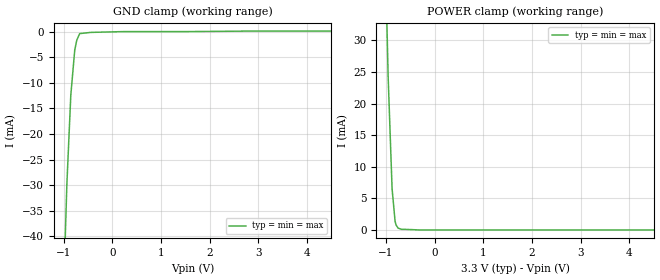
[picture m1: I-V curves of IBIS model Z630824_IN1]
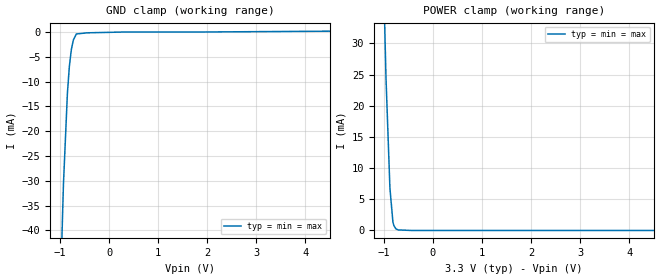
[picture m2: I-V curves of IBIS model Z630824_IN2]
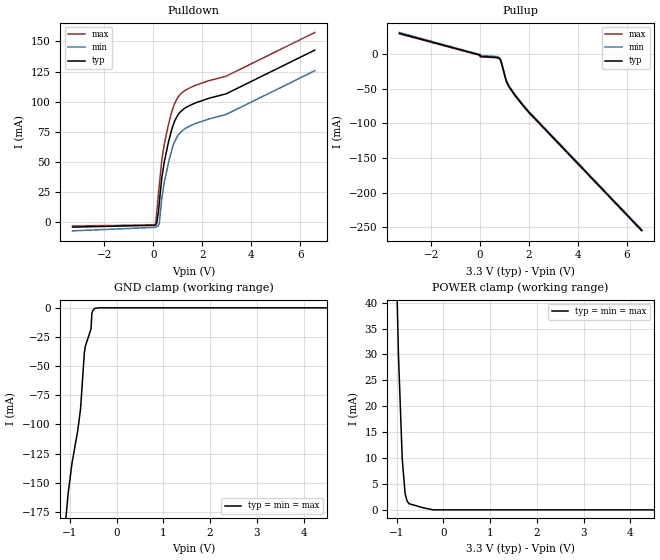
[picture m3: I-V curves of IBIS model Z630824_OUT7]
| YOU ARE ONLY AUTHORIZED TO USE THIS SOFTWARE
| ACCORDING TO LICENSOR'S LICENSE RESTRICTIONS.
[IBIS Ver] 3.1
[File Name] nb100elt23ld.ibs
[File Rev] 2
[Source] Derived from measured data
[Date] 9/25/2003
[Copyright]
| (c) COPYRIGHT 1993-2000
| MENTOR GRAPHICS CORPORATION
| ICX STANDARD LIBRARY, ICX PROJECT MODELING,
| ICX CUSTOM MODELING, ICX VENDOR MODEL
| ALL RIGHTS RESERVED.
| THE FOLLOWING ARE TRADEMARKS OR SERVICE MARKS OF
| MENTOR GRAPHICS CORPORATION:ICX (r), ICX STANDARD
| LIBRARY(r), ICX PROJECT MODELING(r), ICX CUSTOM
| MODELING(r), qualityIBIS(tm), MODELVIEWER(tm),
| AND MODELEDITOR(tm)
| ALL COPIES OF SOFTWARE, INCLUDING BUT NOT LIMITED TO
| ANY MODIFICATIONS, ENHANCEMENTS OR DERIVATIVE WORKS,
| MUST CONTAIN ALL MENTOR GRAPHICS CORPORATION'S
| NOTICES AND LEGENDS, INCLUDING THOSE EMBEDDED IN
| SOFTWARE AND THOSE AFFIXED TO SOFTWARE MEDIUM
| AND CONTAINER, AS RECEIVED FROM MENTOR GRAPHICS
| CORPORATION.
|  ZAP Model Builder 2.8
[Component] NB100ELT23LD
[Manufacturer] ON
[Package]
| variable   typ   min   max
R_pkg  .152ohms NA NA
L_pkg  2.714nH NA NA
C_pkg  .364pF NA NA
[Pin] signal_name  model_name  R_pin  L_pin C_pin
1 D0 Z630824_IN1 .154 2.924n .374p
2 _D0 Z630824_IN2 .15 2.504n .354p
3 _D1 Z630824_IN2 .15 2.504n .354p
4 D1 Z630824_IN1 .154 2.924n .374p
5 GND GND .154 2.924n .374p
6 Q1 Z630824_OUT7 .15 2.504n .354p
7 _Q1 Z630824_OUT7 .15 2.504n .354p
8 VCC POWER .154 2.924n .374p
[Diff Pin] inv_pin vdiff tdelay_typ tdelay_min tdelay_max
1 2 800mv NA NA NA
4 3 800mv NA NA NA
| Models and submodels in the file (3): Z630824_IN1 (Input_ECL), Z630824_IN2 (Input_ECL), Z630824_OUT7 (Output)
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| (c) COPYRIGHT 1993-2000
| MENTOR GRAPHICS CORPORATION
| ICX STANDARD LIBRARY, ICX PROJECT MODELING,
| ICX CUSTOM MODELING, ICX VENDOR MODEL
| ALL RIGHTS RESERVED.
| THE FOLLOWING ARE TRADEMARKS OR SERVICE MARKS OF
| MENTOR GRAPHICS CORPORATION:ICX (r), ICX STANDARD
| LIBRARY(r), ICX PROJECT MODELING(r), ICX CUSTOM
| MODELING(r), qualityIBIS(tm), MODELVIEWER(tm),
| AND MODELEDITOR(tm)
| ALL COPIES OF SOFTWARE, INCLUDING BUT NOT LIMITED TO
| ANY MODIFICATIONS, ENHANCEMENTS OR DERIVATIVE WORKS,
| MUST CONTAIN ALL MENTOR GRAPHICS CORPORATION'S
| NOTICES AND LEGENDS, INCLUDING THOSE EMBEDDED IN
| SOFTWARE AND THOSE AFFIXED TO SOFTWARE MEDIUM
| AND CONTAINER, AS RECEIVED FROM MENTOR GRAPHICS
| CORPORATION.
| Model Application Version 1.89 2/18/99.
[Model] Z630824_IN1
Model_type Input_ECL
Vinl = 1.825V
Vinh = 2.135V
C_comp 1.000pF NA NA
| variable typ   min   max
[Voltage Range] 3.300V 3.300V  3.300V
[GND Clamp Reference] 0.000V 0.000V 0.000V
[POWER Clamp Reference] 3.300V 3.300V 3.300V
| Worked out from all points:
|   GND clamp passes 1 mA (typ) near -0.70 V on its own axis
|   POWER clamp passes 1 mA (typ) near -0.80 V on its own axis
[GND Clamp]
-3.3V     -775.3mA   -775.3mA   -775.3mA
-932mV    -29.8mA    -29.8mA    -29.8mA
-851mV    -12.4mA    -12.4mA    -12.4mA
-770mV    -3.6mA     -3.6mA     -3.6mA
-729mV    -1.7mA     -1.7mA     -1.7mA
-669mV    -400uA     -400uA     -400uA
-446mV    -161.9uA   -161.9uA   -161.9uA
243mV     0A         0A         0A
1.561V    0A         0A         0A
2.878V    100uA      100uA      100uA
6.6V      100uA      100uA      100uA
[POWER Clamp]
-3.3V     783.7mA    783.7mA    783.7mA
-1.119V   86.3mA     86.3mA     86.3mA
-1.078V   64.1mA     64.1mA     64.1mA
-957mV    24.2mA     24.2mA     24.2mA
-876mV    6.5mA      6.5mA      6.5mA
-815mV    1.4mA      1.4mA      1.4mA
-795mV    800uA      800uA      800uA
-754mV    300uA      300uA      300uA
-683mV    100uA      100uA      100uA
-612mV    100uA      100uA      100uA
-306mV    0A         0A         0A
6.6V      0A         0A         0A
| (c) COPYRIGHT 1993-2000
| MENTOR GRAPHICS CORPORATION
| ICX STANDARD LIBRARY, ICX PROJECT MODELING,
| ICX CUSTOM MODELING, ICX VENDOR MODEL
| ALL RIGHTS RESERVED.
| THE FOLLOWING ARE TRADEMARKS OR SERVICE MARKS OF
| MENTOR GRAPHICS CORPORATION:ICX (r), ICX STANDARD
| LIBRARY(r), ICX PROJECT MODELING(r), ICX CUSTOM
| MODELING(r), qualityIBIS(tm), MODELVIEWER(tm),
| AND MODELEDITOR(tm)
| ALL COPIES OF SOFTWARE, INCLUDING BUT NOT LIMITED TO
| ANY MODIFICATIONS, ENHANCEMENTS OR DERIVATIVE WORKS,
| MUST CONTAIN ALL MENTOR GRAPHICS CORPORATION'S
| NOTICES AND LEGENDS, INCLUDING THOSE EMBEDDED IN
| SOFTWARE AND THOSE AFFIXED TO SOFTWARE MEDIUM
| AND CONTAINER, AS RECEIVED FROM MENTOR GRAPHICS
| CORPORATION.
| Model Application Version 1.89 2/18/99.
[Model] Z630824_IN2
Model_type Input_ECL
Vinl = 1.825V
Vinh = 2.135V
C_comp 1.000pF NA NA
| variable typ   min   max
[Voltage Range] 3.300V 3.300V  3.300V
[GND Clamp Reference] 0.000V 0.000V 0.000V
[POWER Clamp Reference] 3.300V 3.300V 3.300V
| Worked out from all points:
|   GND clamp passes 1 mA (typ) near -0.70 V on its own axis
|   POWER clamp passes 1 mA (typ) near -0.80 V on its own axis
[GND Clamp]
-3.3V     -855.2mA   -855.2mA   -855.2mA
-932mV    -30.8mA    -30.8mA    -30.8mA
-851mV    -12.4mA    -12.4mA    -12.4mA
-811mV    -6.9mA     -6.9mA     -6.9mA
-770mV    -3.5mA     -3.5mA     -3.5mA
-729mV    -1.6mA     -1.6mA     -1.6mA
-669mV    -400uA     -400uA     -400uA
-446mV    -165.2uA   -165.2uA   -165.2uA
324mV     0A         0A         0A
1.905V    0A         0A         0A
6.6V      297uA      297uA      297uA
[POWER Clamp]
-3.3V     969.3mA    969.3mA    969.3mA
-1.078V   64.24mA    64.24mA    64.24mA
-957mV    24.65mA    24.65mA    24.65mA
-876mV    6.756mA    6.756mA    6.756mA
-815mV    1.36mA     1.36mA     1.36mA
-795mV    761.5uA    761.5uA    761.5uA
-754mV    264.1uA    264.1uA    264.1uA
-703mV    70.52uA    70.52uA    70.52uA
-652mV    70.52uA    70.52uA    70.52uA
-434.7mV  0A         0A         0A
6.6V      0A         0A         0A
| (c) COPYRIGHT 1993-2000
| MENTOR GRAPHICS CORPORATION
| ICX STANDARD LIBRARY, ICX PROJECT MODELING,
| ICX CUSTOM MODELING, ICX VENDOR MODEL
| ALL RIGHTS RESERVED.
| THE FOLLOWING ARE TRADEMARKS OR SERVICE MARKS OF
| MENTOR GRAPHICS CORPORATION:ICX (r), ICX STANDARD
| LIBRARY(r), ICX PROJECT MODELING(r), ICX CUSTOM
| MODELING(r), qualityIBIS(tm), MODELVIEWER(tm),
| AND MODELEDITOR(tm)
| ALL COPIES OF SOFTWARE, INCLUDING BUT NOT LIMITED TO
| ANY MODIFICATIONS, ENHANCEMENTS OR DERIVATIVE WORKS,
| MUST CONTAIN ALL MENTOR GRAPHICS CORPORATION'S
| NOTICES AND LEGENDS, INCLUDING THOSE EMBEDDED IN
| SOFTWARE AND THOSE AFFIXED TO SOFTWARE MEDIUM
| AND CONTAINER, AS RECEIVED FROM MENTOR GRAPHICS
| CORPORATION.
| Model Application Version 1.89 2/18/99.
[Model] Z630824_OUT7
Model_type Output
Vref=3.300V
Rref=500.0ohms
Cref=20.00pF
Vmeas=1.500V
C_comp 1.000pF NA NA
| variable typ   min   max
[Voltage Range] 3.300V 3.300V 3.300V
[POWER Clamp Reference] 3.300V 3.300V 3.300V
[Pullup Reference] 3.300V 3.300V 3.300V
[Pulldown Reference] 0.000V 0.000V 0.000V
[GND Clamp Reference] 0.000V 0.000V 0.000V
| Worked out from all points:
|   slope of the pulldown table from 0 to 0.495 V, typ, clamps not added: 8.68 ohm
|   slope of the pullup table from 0 to 0.495 V, typ, clamps not added: 162 ohm
|   GND clamp passes 1 mA (typ) near -0.48 V on its own axis
[GND Clamp]
|-3.300V  1.155A   1.155A   1.155A
-3.3V     -1.155A    -1.155A    -1.155A
-1.034V   -158.7mA   -158.7mA   -158.7mA
-953mV    -133.3mA   -133.3mA   -133.3mA
-831mV    -105.6mA   -105.6mA   -105.6mA
-770mV    -86.73mA   -86.73mA   -86.73mA
-689mV    -38.86mA   -38.86mA   -38.86mA
-669mV    -33.17mA   -33.17mA   -33.17mA
-547mV    -18.23mA   -18.23mA   -18.23mA
-527mV    -4.736mA   -4.736mA   -4.736mA
-507mV    -2.345mA   -2.345mA   -2.345mA
-466mV    -463.7uA   -463.7uA   -463.7uA
6.6V      0A         0A         0A
[Pulldown]
-3.3V     -3.907mA   -7mA       -3mA
61mV      -2.4mA     -4.1mA     -2mA
101mV     -1.9mA     -4mA       -1mA
142mV     -300uA     -3.1mA     9mA
244.8mV   16mA       -900uA     30.8mA
345mV     36.7mA     19.6mA     51.3mA
446mV     49.9mA     32.8mA     64.5mA
770mV     78.1mA     61mA       92.7mA
1.013V    89.4mA     72.3mA     104mA
1.56V     97.6mA     80.5mA     112.2mA
2.98V     106.6mA    89.5mA     121.2mA
6.6V      142.8mA    125.7mA    157.4mA
[Pullup]
-3.3V     29.43mA    30.73mA    28.8mA
193uV     -1.7mA     -1.3mA     -2.3mA
450uV     -3.75mA    -2.45mA    -4.3mA
619mV     -5mA       -3.7mA     -5.6mA
782mV     -6.6mA     -5.3mA     -7.2mA
822mV     -8.4mA     -7.1mA     -9mA
863mV     -12.2mA    -10.9mA    -12.8mA
1.065V    -39.2mA    -37.9mA    -39.8mA
1.167V    -46.7mA    -45.4mA    -47.3mA
1.694V    -71.9mA    -70.6mA    -72.5mA
1.977V    -83.7mA    -82.4mA    -84.3mA
6.6V      -254.4mA   -253.1mA   -255mA
[POWER Clamp]
-3.3V     942.4mA    942.4mA    942.4mA
-962mV    30.01mA    30.01mA    30.01mA
-881mV    9.83mA     9.83mA     9.83mA
-820mV    3.173mA    3.173mA    3.173mA
-779mV    1.739mA    1.739mA    1.739mA
-739mV    1.195mA    1.195mA    1.195mA
-435mV    404uA      404uA      404uA
-217.5mV  0A         0A         0A
6.6V      0A         0A         0A
[Ramp]
| variable typ min max
|dV/dt_r 1.497/695.0p 1.497/665.0p 1.497/715.0p
|dV/dt_f 1.497/358.0p 1.497/328.0p 1.497/388.0p
dV/dt_r 1.497/695.0p 1.497/715.0p 1.497/665.0p
dV/dt_f 1.497/358.0p 1.497/388.0p 1.497/328.0p
R_load = 500.0Ohms
